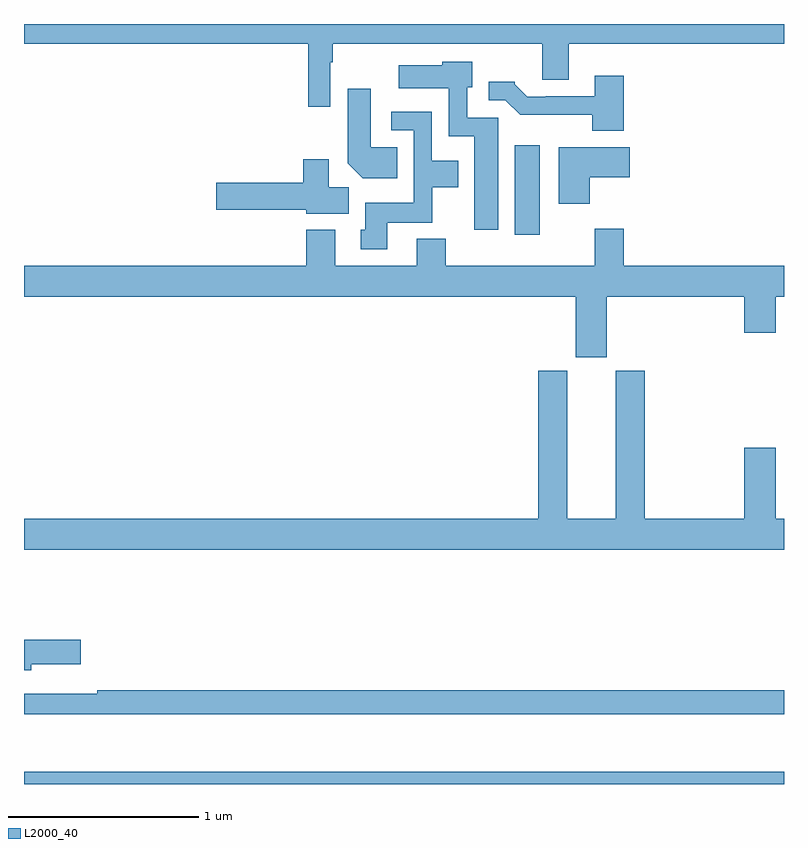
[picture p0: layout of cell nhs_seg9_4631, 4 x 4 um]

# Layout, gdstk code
import gdstk
lib = gdstk.Library(unit=1e-6, precision=1e-09)
def R(c, l, rs):  # rectangles x0, y0, x1, y1
    for r in rs: c.add(gdstk.rectangle(r[:2], r[2:], *l))
def P(c, l, *ps):  # polygons
    for p in ps: c.add(gdstk.Polygon(p, *l))
L2000_40 = (2000, 40)

nhs_seg9_4631 = lib.new_cell('nhs_seg9_4631')
R(nhs_seg9_4631, L2000_40, [(377,1216.5,381,1216.564), (379.583,1219.392,379.714,1219.861)])
P(nhs_seg9_4631, L2000_40, [(378.612,1220.3),(378.625,1220.3),(378.625,1220.396),(379.727,1220.396),(379.727,1220.206),(379.867,1220.206),(379.867,1220.396),(381,1220.396),(381,1220.5),(377,1220.5),(377,1220.396),(378.496,1220.396),(378.496,1220.064),(378.612,1220.064)],
  [(379.495,1220.007),(379.332,1220.007),(379.332,1220.166),(379.36,1220.166),(379.36,1220.302),(379.2,1220.302),(379.2,1220.284),(378.972,1220.284),(378.972,1220.162),(379.236,1220.162),(379.236,1219.91),(379.37,1219.91),(379.37,1219.416),(379.495,1219.416)],
  [(380.156,1220.227),(380.003,1220.227),(380.003,1220.121),(379.747,1220.121),(379.747,1220.118),(379.648,1220.118),(379.584,1220.182),(379.584,1220.197),(379.445,1220.197),(379.445,1220.1),(379.533,1220.1),(379.612,1220.022),(379.991,1220.022),(379.991,1219.937),(380.156,1219.937)],
  [(378.965,1219.852),(378.826,1219.852),(378.826,1220.158),(378.704,1220.158),(378.704,1219.766),(378.782,1219.688),(378.965,1219.688)],
  [(378.913,1219.454),(379.149,1219.454),(379.149,1219.64),(379.285,1219.64),(379.285,1219.78),(379.146,1219.78),(379.146,1220.037),(378.933,1220.037),(378.933,1219.941),(379.05,1219.941),(379.05,1219.558),(378.797,1219.558),(378.797,1219.416),(378.773,1219.416),(378.773,1219.314),(378.913,1219.314)],
  [(379.978,1219.694),(380.188,1219.694),(380.188,1219.852),(379.814,1219.852),(379.814,1219.554),(379.978,1219.554)],
  [(378.709,1219.64),(378.604,1219.64),(378.604,1219.789),(378.47,1219.789),(378.47,1219.664),(378.012,1219.664),(378.012,1219.522),(378.486,1219.522),(378.486,1219.502),(378.709,1219.502)],
  [(380.068,1219.064),(380.792,1219.064),(380.792,1218.876),(380.956,1218.876),(380.956,1219.064),(381,1219.064),(381,1219.228),(380.156,1219.228),(380.156,1219.423),(380.003,1219.423),(380.003,1219.228),(379.22,1219.228),(379.22,1219.369),(379.067,1219.369),(379.067,1219.228),(378.637,1219.228),(378.637,1219.417),(378.485,1219.417),(378.485,1219.228),(377,1219.228),(377,1219.064),(379.904,1219.064),(379.904,1218.747),(380.068,1218.747)],
  [(381,1217.896),(380.956,1217.896),(380.956,1218.271),(380.792,1218.271),(380.792,1217.896),(380.267,1217.896),(380.267,1218.675),(380.114,1218.675),(380.114,1217.896),(379.858,1217.896),(379.858,1218.675),(379.706,1218.675),(379.706,1217.896),(377,1217.896),(377,1217.732),(381,1217.732)],
  [(377.038,1217.129),(377.299,1217.129),(377.299,1217.259),(377,1217.259),(377,1217.1),(377.038,1217.1)],
  [(381,1216.994),(377.386,1216.994),(377.386,1216.975),(377.134,1216.975),(377.134,1216.974),(377,1216.974),(377,1216.866),(381,1216.866)])

lib.write_gds('nhs_seg9_4631.gds')
